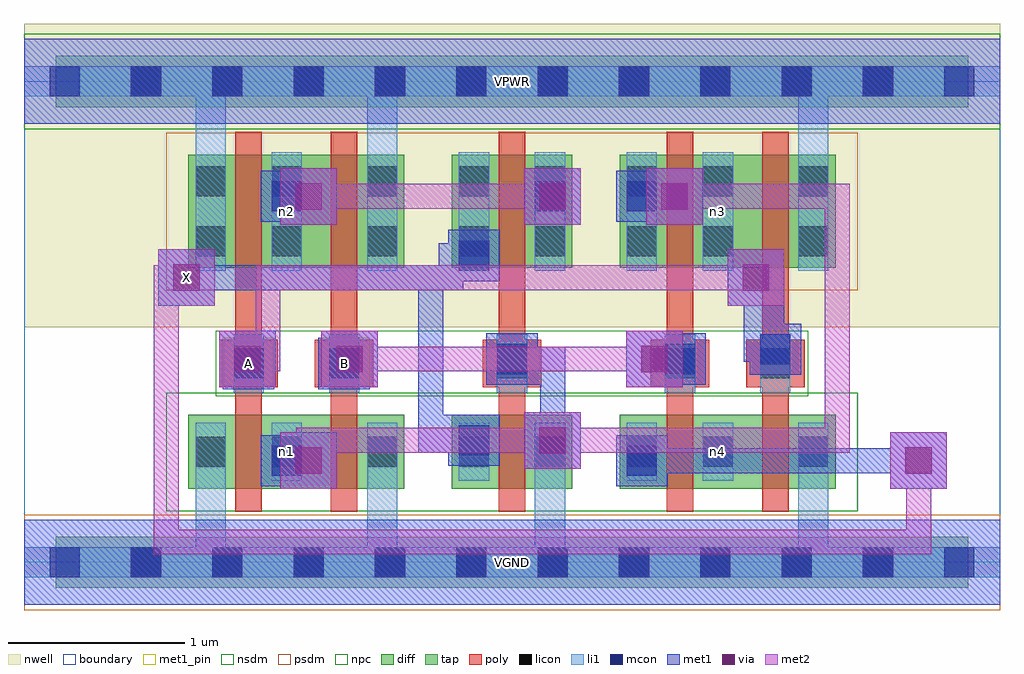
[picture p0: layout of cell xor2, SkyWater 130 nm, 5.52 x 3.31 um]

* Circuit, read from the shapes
.subckt xor2 A B VGND VPWR X n1 n2 n3 n4
XM1 n1 A VGND VGND sky130_fd_pr__nfet_01v8 w=0.42 l=0.15
XM2 VGND B n1 VGND sky130_fd_pr__nfet_01v8 w=0.42 l=0.15
XM3 VGND n1 X VGND sky130_fd_pr__nfet_01v8 w=0.42 l=0.15
XM4 n4 B X VGND sky130_fd_pr__nfet_01v8 w=0.42 l=0.15
XM5 VGND A n4 VGND sky130_fd_pr__nfet_01v8 w=0.42 l=0.15
XM6 n2 A VPWR VPWR sky130_fd_pr__pfet_01v8 w=0.64 l=0.15
XM7 VPWR B n2 VPWR sky130_fd_pr__pfet_01v8 w=0.64 l=0.15
XM8 n2 n1 X VPWR sky130_fd_pr__pfet_01v8 w=0.64 l=0.15
XM9 n3 B n1 VPWR sky130_fd_pr__pfet_01v8 w=0.64 l=0.15
XM10 VPWR A n3 VPWR sky130_fd_pr__pfet_01v8 w=0.64 l=0.15
.ends

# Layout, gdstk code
import gdstk
lib = gdstk.Library(unit=1e-6, precision=1e-09)
def R(c, l, rs):  # rectangles x0, y0, x1, y1
    for r in rs: c.add(gdstk.rectangle(r[:2], r[2:], *l))
def A(c, l, x, y, w, h, nx, ny, dx, dy):  # array of equal rectangles
    R(c, l, [(x+i*dx, y+j*dy, x+i*dx+w, y+j*dy+h) for i in range(nx) for j in range(ny)])
nwell = (64, 20)
diff = (65, 20)
tap = (65, 44)
poly = (66, 20)
licon = (66, 44)
li1 = (67, 20)
mcon = (67, 44)
met1_pin = (68, 16)
met1 = (68, 20)
via = (68, 44)
met2 = (69, 20)
nsdm = (93, 44)
psdm = (94, 20)
npc = (95, 20)
boundary = (235, 4)

xor2 = lib.new_cell('xor2')
R(xor2, nwell, [(0,1.33,5.52,3.045)])
R(xor2, diff, [(0.93,0.415,2.15,0.835), (2.42,0.415,3.1,0.835), (3.37,0.415,4.59,0.835), (0.93,1.665,2.15,2.305), (2.42,1.665,3.1,2.305), (3.37,1.665,4.59,2.305)])
R(xor2, tap, [(0.18,-0.145,5.34,0.145), (0.18,2.575,5.34,2.865)])
A(xor2, poly, 1.735, 0.285, 0.15, 2.15, 3, 1, 0.95, 0)
A(xor2, poly, 1.645, 0.99, 0.33, 0.27, 3, 1, 0.95, 0)
R(xor2, poly, [(1.195,0.285,1.345,2.435), (4.175,0.285,4.325,2.435), (1.105,0.99,1.435,1.26), (4.085,0.99,4.415,1.26)])
A(xor2, licon, 0.605, -0.085, 0.17, 0.17, 10, 2, 0.46, 2.72)
A(xor2, licon, 1.725, 1.04, 0.17, 0.17, 3, 1, 0.95, 0)
R(xor2, licon, [(0.97,0.54,1.14,0.71), (1.4,0.54,1.57,0.71), (1.94,0.54,2.11,0.71), (2.46,0.54,2.63,0.71), (2.89,0.54,3.06,0.71), (3.41,0.54,3.58,0.71), (3.84,0.54,4.01,0.71), (4.38,0.54,4.55,0.71), (1.185,1.04,1.355,1.21), (4.165,1.04,4.335,1.21), (0.97,1.73,1.14,1.9), (1.4,1.73,1.57,1.9), (1.94,1.73,2.11,1.9), (2.46,1.73,2.63,1.9), (2.89,1.73,3.06,1.9), (3.41,1.73,3.58,1.9), (3.84,1.73,4.01,1.9), (4.38,1.73,4.55,1.9), (0.97,2.07,1.14,2.24), (1.4,2.07,1.57,2.24), (1.94,2.07,2.11,2.24), (2.46,2.07,2.63,2.24), (2.89,2.07,3.06,2.24), (3.41,2.07,3.58,2.24), (3.84,2.07,4.01,2.24), (4.38,2.07,4.55,2.24)])
A(xor2, li1, 1.725, 0.96, 0.17, 0.33, 3, 1, 0.95, 0)
R(xor2, li1, [(0,-0.085,5.52,0.085), (0.97,-0.085,1.14,0.79), (1.94,-0.085,2.11,0.79), (2.89,-0.085,3.06,0.79), (4.38,-0.085,4.55,0.79), (0.97,0.46,1.14,0.79), (1.4,0.46,1.57,0.79), (1.94,0.46,2.11,0.79), (2.46,0.46,2.63,0.79), (2.89,0.46,3.06,0.79), (3.41,0.46,3.58,0.79), (3.84,0.46,4.01,0.79), (4.38,0.46,4.55,0.79), (1.185,0.96,1.355,1.29), (4.165,0.96,4.335,1.29), (0.97,1.65,1.14,2.32), (0.97,1.65,1.14,2.805), (1.4,1.65,1.57,2.32), (1.94,1.65,2.11,2.32), (1.94,1.65,2.11,2.805), (2.46,1.65,2.63,2.32), (2.89,1.65,3.06,2.32), (3.41,1.65,3.58,2.32), (3.84,1.65,4.01,2.32), (4.38,1.65,4.55,2.32), (4.38,1.65,4.55,2.805), (0,2.635,5.52,2.805)])
A(xor2, mcon, 0.145, -0.085, 0.17, 0.17, 12, 2, 0.46, 2.72)
R(xor2, mcon, [(1.4,0.49,1.57,0.66), (3.41,0.49,3.58,0.66), (2.46,0.605,2.63,0.775), (1.185,1.04,1.355,1.21), (1.725,1.04,1.895,1.21), (2.675,1.065,2.845,1.235), (3.625,1.065,3.795,1.235), (4.165,1.12,4.335,1.29), (2.46,1.65,2.63,1.82), (1.4,1.985,1.57,2.155), (2.89,1.985,3.06,2.155), (3.41,1.985,3.58,2.155)])
R(xor2, met1_pin, [(0,-0.24,5.52,0.24), (1.125,0.98,1.415,1.27), (1.665,0.98,1.955,1.27), (0.76,1.45,1.08,1.77), (0,2.48,5.52,2.96)])
R(xor2, met1, [(0,-0.24,5.52,0.24), (1.45,0.415,1.77,0.735), (4.9,0.415,5.22,0.735), (1.34,0.43,1.63,0.72), (3.35,0.43,3.64,0.72), (1.415,0.505,1.68,0.645), (3.425,0.505,3.75,0.645), (3.61,0.505,5.13,0.645), (2.83,0.53,3.15,0.85), (2.4,0.545,2.69,0.835), (2.23,0.62,2.485,0.76), (2.23,0.62,2.37,1.68), (2.345,0.62,2.615,0.76), (2.37,0.62,2.4,0.835), (2.92,0.62,3.06,1.22), (1.125,0.98,1.415,1.27), (1.665,0.98,1.955,1.27), (1.105,0.99,1.425,1.31), (1.68,0.99,2,1.31), (3.405,0.99,3.725,1.31), (2.615,1.005,2.905,1.295), (2.905,1.005,2.92,1.22), (3.565,1.005,3.855,1.295), (4.105,1.06,4.395,1.35), (1.195,1.08,1.335,1.22), (1.77,1.08,1.91,1.22), (2.69,1.08,3.06,1.22), (3.495,1.08,3.78,1.22), (4.07,1.135,4.32,1.275), (4.07,1.135,4.21,1.45), (4.07,1.31,4.21,1.68), (4.105,1.35,4.3,1.45), (0.76,1.45,1.08,1.77), (3.98,1.45,4.3,1.77), (0.85,1.54,2.37,1.68), (2.23,1.54,2.485,1.68), (2.345,1.54,2.485,1.805), (2.4,1.59,2.69,1.88), (2.345,1.665,2.615,1.805), (1.45,1.91,1.77,2.23), (2.83,1.91,3.15,2.23), (3.52,1.91,3.84,2.23), (1.34,1.925,1.63,2.215), (2.83,1.925,3.12,2.215), (3.35,1.925,3.64,2.215), (1.415,2,1.68,2.14), (2.905,2,3.06,2.14), (3.425,2,3.75,2.14), (0,2.48,5.52,2.96)])
R(xor2, via, [(1.535,0.5,1.685,0.65), (4.985,0.5,5.135,0.65), (2.915,0.615,3.065,0.765), (1.19,1.075,1.34,1.225), (1.765,1.075,1.915,1.225), (3.49,1.075,3.64,1.225), (0.845,1.535,0.995,1.685), (4.065,1.535,4.215,1.685), (1.535,1.995,1.685,2.145), (2.915,1.995,3.065,2.145), (3.605,1.995,3.755,2.145)])
R(xor2, met2, [(0.735,0.045,0.875,1.68), (0.735,0.045,5.13,0.185), (4.99,0.045,5.13,0.645), (1.45,0.415,1.77,0.735), (4.9,0.415,5.22,0.735), (1.54,0.505,1.68,0.76), (2.83,0.53,3.15,0.85), (1.54,0.62,3.06,0.76), (2.92,0.62,4.67,0.76), (4.53,0.62,4.67,2.14), (1.105,0.99,1.425,1.31), (1.68,0.99,2,1.31), (3.405,0.99,3.725,1.31), (1.195,1.08,1.45,1.22), (1.31,1.08,1.45,1.68), (1.77,1.08,3.635,1.22), (0.76,1.45,1.08,1.77), (3.98,1.45,4.3,1.77), (0.735,1.54,0.99,1.68), (1.31,1.54,4.21,1.68), (1.45,1.91,1.77,2.23), (2.83,1.91,3.15,2.23), (3.52,1.91,3.84,2.23), (1.54,2,3.06,2.14), (3.61,2,4.67,2.14)])
R(xor2, nsdm, [(0.805,0.29,4.715,0.96), (0,2.45,5.52,2.99)])
R(xor2, psdm, [(0,-0.27,5.52,0.27), (0.805,1.54,4.715,2.43)])
R(xor2, npc, [(1.085,0.94,4.435,1.31)])
R(xor2, boundary, [(0,0,5.52,2.72)])
xor2.add(gdstk.Label('n1', (1.485,0.625), layer=67, texttype=5))
xor2.add(gdstk.Label('n4', (3.925,0.625), layer=67, texttype=5))
xor2.add(gdstk.Label('n2', (1.485,1.985), layer=67, texttype=5))
xor2.add(gdstk.Label('n3', (3.925,1.985), layer=67, texttype=5))
xor2.add(gdstk.Label('A', (1.27,1.125), layer=68, texttype=5))
xor2.add(gdstk.Label('B', (1.81,1.125), layer=68, texttype=5))
xor2.add(gdstk.Label('X', (0.92,1.61), layer=68, texttype=5))
xor2.add(gdstk.Label('VPWR', (2.76,2.72), layer=68, texttype=5))
xor2.add(gdstk.Label('VGND', (2.76,0), layer=68, texttype=5))
xor2.add(gdstk.Label('A', (1.27,1.125), layer=68, texttype=16))
xor2.add(gdstk.Label('B', (1.81,1.125), layer=68, texttype=16))
xor2.add(gdstk.Label('X', (0.92,1.61), layer=68, texttype=16))
xor2.add(gdstk.Label('VPWR', (2.76,2.72), layer=68, texttype=16))
xor2.add(gdstk.Label('VGND', (2.76,0), layer=68, texttype=16))

lib.write_gds('xor2.gds')
